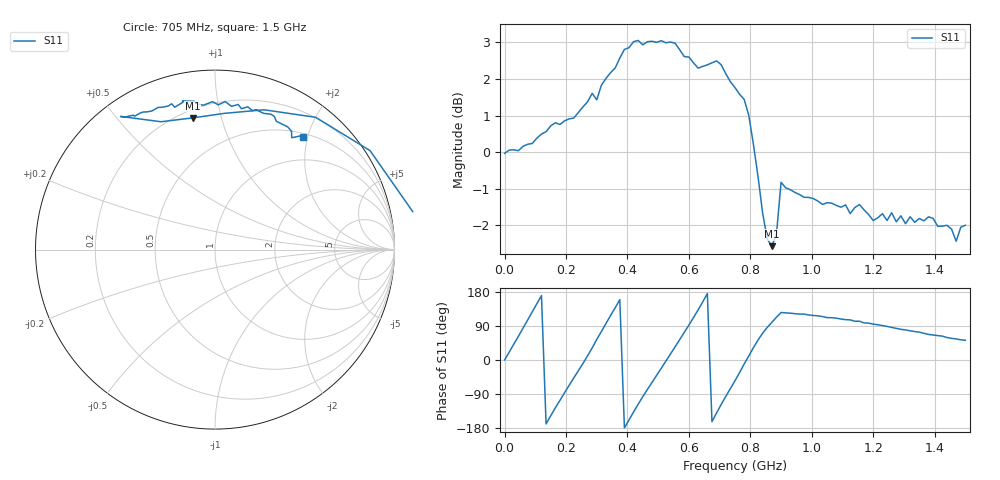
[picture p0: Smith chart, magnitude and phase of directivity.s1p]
! Created with skrf 1.8.0 (http://scikit-rf.org).
# Hz S RI R 50.0
!freq ReS11 ImS11
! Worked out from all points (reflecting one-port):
!   101 points, 50 kHz to 1.5 GHz, reference 50 ohm
!   lowest |S11| = -2.6 dB at 870 MHz (marker M1), VSWR 6.82, Z = 12.4 + j40.8 ohm
!   phase of S11 starts at 0 deg and turns +1132 deg over the sweep
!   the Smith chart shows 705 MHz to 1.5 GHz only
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50000  0.9964 0.00145
6.0048e7  0.1033 1.013
9.0047e7  -0.6194 0.8201
1.20046e8  -1.042 0.1851
1.50045e8  -0.9145 -0.5862
1.950435e8  0.0639 -1.102
2.40042e8  0.9961 -0.5395
2.70041e8  1.15 0.2213
3.0004e8  0.6871 0.9582
3.30039e8  -0.1389 1.254
3.750375e8  -1.257 0.4763
4.20036e8  -1.033 -0.9679
4.650345e8  0.304 -1.382
4.950335e8  1.077 -0.9148
5.250325e8  1.409 -0.0689
5.70031e8  0.8141 1.114
6.150295e8  -0.4967 1.228
6.60028e8  -1.312 0.1078
7.050265e8  -0.6071 -1.168
7.50025e8  0.7076 -1
7.950235e8  1.102 0.2115
8.250225e8  0.5604 0.7371
8.70021e8  -0.123 0.734
9.0002e8  -0.5264 0.742
9.450185e8  -0.4701 0.7456
1.125012e9  -0.2248 0.7932
1.320006e9  0.1825 0.7956
1.5e9  0.4888 0.6267
